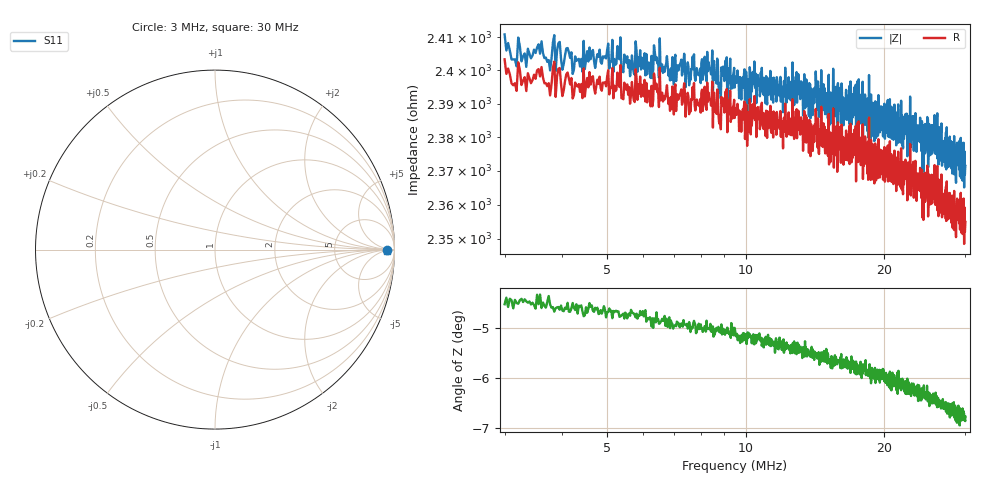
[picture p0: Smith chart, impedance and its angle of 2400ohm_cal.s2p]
# HZ S RI R 50
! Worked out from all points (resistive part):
!   1023 points, 3 MHz to 30 MHz, reference 50 ohm
!   read as one part in series: R = 2.4 kohm at 3.132 MHz
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3000000  0.9599 0.000198  0.0397 0.00301  0 0  0 0
3211352  0.9599 -0.000185  0.0397 0.00301  0 0  0 0
7517649  0.9602 -0.00146  0.0398 0.00335  0 0  0 0
8865018  0.96 -0.00344  0.0399 0.0033  0 0  0 0
9314141  0.9602 -0.00278  0.0399 0.00329  0 0  0 0
1.200888e7  0.9595 -0.0024  0.0399 0.00361  0 0  0 0
1.280145e7  0.9601 -0.00238  0.04 0.0037  0 0  0 0
1.34355e7  0.9586 -0.00242  0.0399 0.00374  0 0  0 0
1.539051e7  0.9619 -0.00396  0.04 0.00376  0 0  0 0
1.562828e7  0.9602 -0.00378  0.04 0.00372  0 0  0 0
1.650011e7  0.961 -0.004  0.04 0.00385  0 0  0 0
1.755687e7  0.9611 -0.00509  0.0401 0.00387  0 0  0 0
1.800599e7  0.961 -0.00509  0.04 0.0039  0 0  0 0
1.877214e7  0.9599 -0.00425  0.04 0.00397  0 0  0 0
2.101776e7  0.9592 -0.00468  0.04 0.004  0 0  0 0
2.321054e7  0.9595 -0.00674  0.0401 0.00421  0 0  0 0
2.381817e7  0.9588 -0.00556  0.0401 0.00428  0 0  0 0
2.463716e7  0.9602 -0.0061  0.0402 0.00425  0 0  0 0
2.492777e7  0.9599 -0.00619  0.0402 0.00429  0 0  0 0
2.550899e7  0.9597 -0.00603  0.0401 0.00436  0 0  0 0
2.738474e7  0.9593 -0.00697  0.0401 0.00453  0 0  0 0
3.000022e7  0.9596 -0.00703  0.0402 0.00459  0 0  0 0
